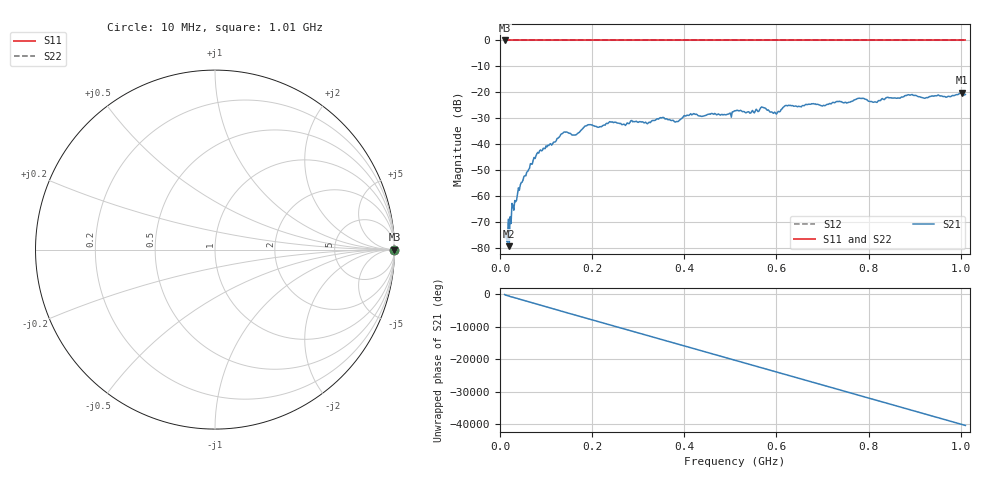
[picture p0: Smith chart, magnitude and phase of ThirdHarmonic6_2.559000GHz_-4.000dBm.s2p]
! 8/17/2025 5:16:48 AM
! C:\ANRITSUVNA\TEMP\TEMP.S2P
! CHANNEL.1
! TR.MEASUREMENT
! RAW.DATA
! RF.CORRECTION.OFF
! AVERAGING.OFF
! IF.BANDWIDTH: 5KHZ
! SWEEPTYPE:  FREQ.SWEEP(Linear)
! Reference Plane Port Info
! PORT:  PORT1  PORT2
! DISTANCE:  0  m  0  m
! TIME:  0  s  0  s
! PHASE.OFFSET:  0  deg.  0  deg.
! LOSS:  0  dB  0  dB
! REF.LOSS:  0  dB  0  dB
! REF.FREQ:  0  Hz  0  Hz
! Power Info
! POWER:  -20  dBm  -20  dBm
! EFF.POWER:  -20  dBm  -20  dBm
! SOURCE.ATTEN:  0  dB  0  dB
! TEST.ATTEN:  0  dB  0  dB
# GHZ S RI R 50.0
! FREQ.GHZ  S11RE  S11IM  S21RE  S21IM  S12RE  S12IM  S22RE  S22IM
!; PortSelection: Port_12
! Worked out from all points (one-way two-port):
!   501 points, 10 MHz to 1.01 GHz, reference 50 ohm
!   highest |S21| = -20.10 dB at 1.002 GHz (marker M1); lowest = -79.2 dB at 20 MHz (marker M2)
!   lowest |S11| = 0.0 dB at 10 MHz (marker M3)
!   |S11| at or under -10 dB: nowhere
!   |S22| runs from 0.0 to 0.0 dB; largest |S21 - S12| = 1.1
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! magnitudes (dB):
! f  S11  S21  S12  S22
! 10 MHz  0.0  -75.8  0.0  0.0
! 20 MHz  0.0  -79.2  0.0  0.0
! 30 MHz  0.0  -65.3  0.0  0.0
! 42 MHz  0.0  -57.6  0.0  0.0
! 78 MHz  0.0  -44.5  0.0  0.0
! 136 MHz  0.0  -35.7  0.0  0.0
! 162 MHz  0.0  -36.4  0.0  0.0
! 178 MHz  0.0  -34.2  0.0  0.0
! 194 MHz  0.0  -32.4  0.0  0.0
! 322 MHz  0.0  -31.7  0.0  0.0
! 344 MHz  0.0  -30.3  0.0  0.0
! 384 MHz  0.0  -31.2  0.0  0.0
! 416 MHz  0.0  -28.6  0.0  0.0
! 510 MHz  0.0  -27.0  0.0  0.0
! 570 MHz  0.0  -25.7  0.0  0.0
! 598 MHz  0.0  -28.0  0.0  0.0
! 622 MHz  0.0  -25.0  0.0  0.0
! 678 MHz  0.0  -24.4  0.0  0.0
! 814 MHz  0.0  -23.6  0.0  0.0
! 844 MHz  0.0  -22.1  0.0  0.0
! 1.002 GHz  0.0  -20.1  0.0  0.0
! 1.01 GHz  0.0  -20.8  0.0  0.0
